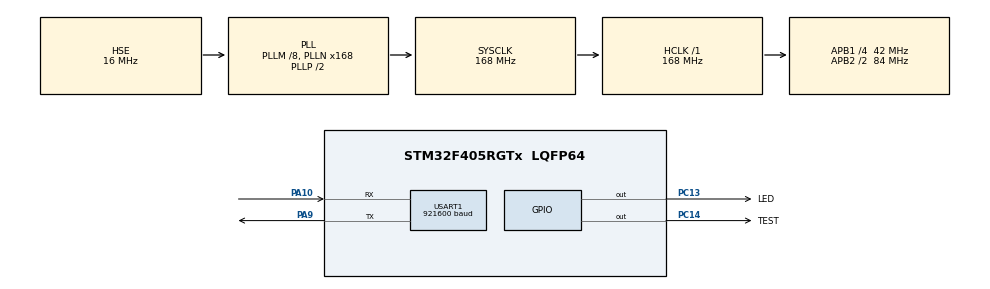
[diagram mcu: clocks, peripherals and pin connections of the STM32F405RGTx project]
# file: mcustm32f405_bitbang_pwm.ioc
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Mcu.Family=STM32F4
Mcu.Name=STM32F405RGTx
Mcu.Package=LQFP64
NVIC.FLASH_IRQn=true\:0\:0\:false\:false\:true\:true\:true\:true
NVIC.PriorityGroup=NVIC_PRIORITYGROUP_4
NVIC.TIM1_UP_TIM10_IRQn=true\:0\:0\:false\:false\:true\:true\:true\:true
PA10.Mode=Asynchronous
PA10.Signal=USART1_RX
PA13.Mode=Trace_Asynchronous_SW
PA13.Signal=SYS_JTMS-SWDIO
PA14.Mode=Trace_Asynchronous_SW
PA14.Signal=SYS_JTCK-SWCLK
PA9.Mode=Asynchronous
PA9.Signal=USART1_TX
PB3.Mode=Trace_Asynchronous_SW
PB3.Signal=SYS_JTDO-SWO
PC13-ANTI_TAMP.GPIO_Label=LED
PC13-ANTI_TAMP.GPIO_ModeDefaultOutputPP=GPIO_MODE_OUTPUT_PP
PC13-ANTI_TAMP.GPIO_PuPd=GPIO_NOPULL
PC13-ANTI_TAMP.PinState=GPIO_PIN_SET
PC13-ANTI_TAMP.Signal=GPIO_Output
PC14-OSC32_IN.GPIO_Label=TEST
PC14-OSC32_IN.Signal=GPIO_Output
PH0-OSC_IN.Mode=HSE-External-Oscillator
PH0-OSC_IN.Signal=RCC_OSC_IN
PH1-OSC_OUT.Mode=HSE-External-Oscillator
PH1-OSC_OUT.Signal=RCC_OSC_OUT
ProjectManager.HeapSize=0x200
ProjectManager.StackSize=0x400
ProjectManager.TargetToolchain=STM32CubeIDE
RCC.48MHZClocksFreq_Value=84000000
RCC.AHBFreq_Value=168000000
RCC.APB1CLKDivider=RCC_HCLK_DIV4
RCC.APB1Freq_Value=42000000
RCC.APB1TimFreq_Value=84000000
RCC.APB2CLKDivider=RCC_HCLK_DIV2
RCC.APB2Freq_Value=84000000
RCC.APB2TimFreq_Value=168000000
RCC.CortexFreq_Value=168000000
RCC.HCLKFreq_Value=168000000
RCC.HSE_VALUE=16000000
RCC.HSI_VALUE=16000000
RCC.LSE_VALUE=32768
RCC.PLLM=8
RCC.PLLN=168
RCC.PLLSourceVirtual=RCC_PLLSOURCE_HSE
RCC.SYSCLKFreq_VALUE=168000000
RCC.SYSCLKSource=RCC_SYSCLKSOURCE_PLLCLK
RCC.VCOOutputFreq_Value=336000000
TIM10.AutoReloadPreload=TIM_AUTORELOAD_PRELOAD_ENABLE
TIM10.Period=100 - 1
TIM10.Prescaler=84 - 1
USART1.BaudRate=921600
USART1.VirtualMode=VM_ASYNC
VP_TIM10_VS_ClockSourceINT.Mode=Enable_Timer
board=custom

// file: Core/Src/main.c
/* USER CODE BEGIN Header */
/**
 ******************************************************************************
 * @file           : main.c
 * @brief          : Main program body
 ******************************************************************************
 * @attention
 *
 * Copyright (c) 2024 Lars Boegild Thomsen <lth@stm32world.com>
 * All rights reserved.
 *
 * This software is licensed under terms that can be found in the LICENSE file
 * in the root directory of this software component.
 * If no LICENSE file comes with this software, it is provided AS-IS.
 *
 ******************************************************************************
 */
/* USER CODE END Header */
#include "main.h"

/* USER CODE BEGIN PD */

#define BITBAND_SRAM(address,bit) (SRAM1_BB_BASE + (((uint32_t)address) - SRAM1_BASE) * 32 + (bit) * 4)
#define BITBAND_PERIPH(address,bit) (PERIPH_BB_BASE + (((uint32_t)address) - PERIPH_BASE) * 32 + (bit) * 4)

// The BITBAND_BIT_ADDR calculate the bitband address of any bit.
#define BITBAND_BIT_ADDR(src_byte_addr, bit)  (((((uint32_t)(src_byte_addr) & 0x000fffff) << 5) | ((uint32_t)(src_byte_addr) & 0xfff00000) | 0x02000000) + (((uint32_t)(bit)) << 2))

/* USER CODE END PD */

TIM_HandleTypeDef htim10;

UART_HandleTypeDef huart1;

/* USER CODE BEGIN PV */

// Variables to run the pwm.  led_pwm_cnt goes from 0-255 and then roll back over to 0.
// led_pwm_val determines the ratio between on and off status of the LED.
uint32_t cb_cnt = 0;
// uint8_t led_pwm_cnt;
uint8_t led_pwm_val = 0x00;
int8_t led_pwm_chg = 1;

// The led_bb_bit points to the bitband address for controlling the PC13
uint8_t *led_bb_bit;
uint8_t *test_bb_bit;

uint32_t loop_cnt = 0;

/* USER CODE END PV */

void SystemClock_Config(void);
static void MX_GPIO_Init(void);
static void MX_USART1_UART_Init(void);
static void MX_TIM10_Init(void);

/* USER CODE BEGIN 0 */

// Send printf to uart1
int _write(int fd, char *ptr, int len) {
    HAL_StatusTypeDef hstatus;

    if (fd == 1 || fd == 2) {
        hstatus = HAL_UART_Transmit(&huart1, (uint8_t*) ptr, len, HAL_MAX_DELAY);
        if (hstatus == HAL_OK)
            return len;
        else
            return -1;
    }
    return -1;
}

// Callback which runs the PWM
void HAL_TIM_PeriodElapsedCallback(TIM_HandleTypeDef *htim) {

    static uint8_t led_pwm_cnt = 0xff; // Moved here from global as it is only used here

    if (htim->Instance == TIM10) {

        // Increase the counter - it will roll over automatically every 256 counts
        ++led_pwm_cnt;

        // Use bitband to switch LED on off or on depending on value of led_pwm_cnt.
        //*led_bb_bit = led_pwm_cnt >= led_pwm_val ? 1 : 0;

        // Use BSRR to set or reset bit 13 of the LED GPIO port.
        LED_GPIO_Port->BSRR = led_pwm_cnt >= led_pwm_val ? GPIO_BSRR_BS13 : GPIO_BSRR_BR13;

        ++cb_cnt;

    }

}

/* USER CODE END 0 */

int main(void)
{

  /* USER CODE BEGIN 1 */

    led_bb_bit = (uint8_t *)BITBAND_PERIPH(&LED_GPIO_Port->ODR, 13);

  /* USER CODE END 1 */

  /* MCU Configuration--------------------------------------------------------*/

  /* Reset of all peripherals, Initializes the Flash interface and the Systick. */
  HAL_Init();

  /* Configure the system clock */
  SystemClock_Config();

  /* Initialize all configured peripherals */
  MX_GPIO_Init();
  MX_USART1_UART_Init();
  MX_TIM10_Init();
  /* USER CODE BEGIN 2 */

    DBG("\n\n\n\n--------\nStarting\n");

    HAL_TIM_Base_Start_IT(&htim10);

  /* USER CODE END 2 */

  /* Infinite loop */
  /* USER CODE BEGIN WHILE */

    uint32_t now = 0, next_tick = 1000, next_change = 10, last_int_cnt = 0;

    while (1) {

        now = uwTick;

        if (now >= next_change) {

            led_pwm_val += led_pwm_chg;

            if (led_pwm_val == 0)
                led_pwm_chg = 1;
            if (led_pwm_val == 150)
                led_pwm_chg = -1;

            next_change = now + 10;

        }

        if (now >= next_tick) {

            DBG("Tick %lu (loop = %lu cb = %lu)\n", now / 1000, loop_cnt, cb_cnt);

            loop_cnt = 0;

            next_tick = now + 1000;

        }

        ++loop_cnt;

    /* USER CODE END WHILE */

    }
}

void SystemClock_Config(void)
{
  RCC_OscInitTypeDef RCC_OscInitStruct = {0};
  RCC_ClkInitTypeDef RCC_ClkInitStruct = {0};

  /** Configure the main internal regulator output voltage
  */
  __HAL_RCC_PWR_CLK_ENABLE();
  __HAL_PWR_VOLTAGESCALING_CONFIG(PWR_REGULATOR_VOLTAGE_SCALE1);

  /** Initializes the RCC Oscillators according to the specified parameters
  * in the RCC_OscInitTypeDef structure.
  */
  RCC_OscInitStruct.OscillatorType = RCC_OSCILLATORTYPE_HSE;
  RCC_OscInitStruct.HSEState = RCC_HSE_ON;
  RCC_OscInitStruct.PLL.PLLState = RCC_PLL_ON;
  RCC_OscInitStruct.PLL.PLLSource = RCC_PLLSOURCE_HSE;
  RCC_OscInitStruct.PLL.PLLM = 8;
  RCC_OscInitStruct.PLL.PLLN = 168;
  RCC_OscInitStruct.PLL.PLLP = RCC_PLLP_DIV2;
  RCC_OscInitStruct.PLL.PLLQ = 4;
  if (HAL_RCC_OscConfig(&RCC_OscInitStruct) != HAL_OK)
  {
    Error_Handler();
  }

  /** Initializes the CPU, AHB and APB buses clocks
  */
  RCC_ClkInitStruct.ClockType = RCC_CLOCKTYPE_HCLK|RCC_CLOCKTYPE_SYSCLK
                              |RCC_CLOCKTYPE_PCLK1|RCC_CLOCKTYPE_PCLK2;
  RCC_ClkInitStruct.SYSCLKSource = RCC_SYSCLKSOURCE_PLLCLK;
  RCC_ClkInitStruct.AHBCLKDivider = RCC_SYSCLK_DIV1;
  RCC_ClkInitStruct.APB1CLKDivider = RCC_HCLK_DIV4;
  RCC_ClkInitStruct.APB2CLKDivider = RCC_HCLK_DIV2;

  if (HAL_RCC_ClockConfig(&RCC_ClkInitStruct, FLASH_LATENCY_5) != HAL_OK)
  {
    Error_Handler();
  }
}

static void MX_TIM10_Init(void)
{

  htim10.Instance = TIM10;
  htim10.Init.Prescaler = 84 - 1;
  htim10.Init.CounterMode = TIM_COUNTERMODE_UP;
  htim10.Init.Period = 100 - 1;
  htim10.Init.ClockDivision = TIM_CLOCKDIVISION_DIV1;
  htim10.Init.AutoReloadPreload = TIM_AUTORELOAD_PRELOAD_ENABLE;
  if (HAL_TIM_Base_Init(&htim10) != HAL_OK)
  {
    Error_Handler();
  }

}

static void MX_USART1_UART_Init(void)
{

  huart1.Instance = USART1;
  huart1.Init.BaudRate = 921600;
  huart1.Init.WordLength = UART_WORDLENGTH_8B;
  huart1.Init.StopBits = UART_STOPBITS_1;
  huart1.Init.Parity = UART_PARITY_NONE;
  huart1.Init.Mode = UART_MODE_TX_RX;
  huart1.Init.HwFlowCtl = UART_HWCONTROL_NONE;
  huart1.Init.OverSampling = UART_OVERSAMPLING_16;
  if (HAL_UART_Init(&huart1) != HAL_OK)
  {
    Error_Handler();
  }

}

static void MX_GPIO_Init(void)
{
  GPIO_InitTypeDef GPIO_InitStruct = {0};

  /* GPIO Ports Clock Enable */
  __HAL_RCC_GPIOC_CLK_ENABLE();
  __HAL_RCC_GPIOH_CLK_ENABLE();
  __HAL_RCC_GPIOA_CLK_ENABLE();
  __HAL_RCC_GPIOB_CLK_ENABLE();

  /*Configure GPIO pin Output Level */
  HAL_GPIO_WritePin(LED_GPIO_Port, LED_Pin, GPIO_PIN_SET);

  /*Configure GPIO pin Output Level */
  HAL_GPIO_WritePin(TEST_GPIO_Port, TEST_Pin, GPIO_PIN_RESET);

  /*Configure GPIO pins : LED_Pin TEST_Pin */
  GPIO_InitStruct.Pin = LED_Pin|TEST_Pin;
  GPIO_InitStruct.Mode = GPIO_MODE_OUTPUT_PP;
  GPIO_InitStruct.Pull = GPIO_NOPULL;
  GPIO_InitStruct.Speed = GPIO_SPEED_FREQ_LOW;
  HAL_GPIO_Init(GPIOC, &GPIO_InitStruct);

}

void Error_Handler(void)
{
    __disable_irq();
    while (1) {
    }
}
